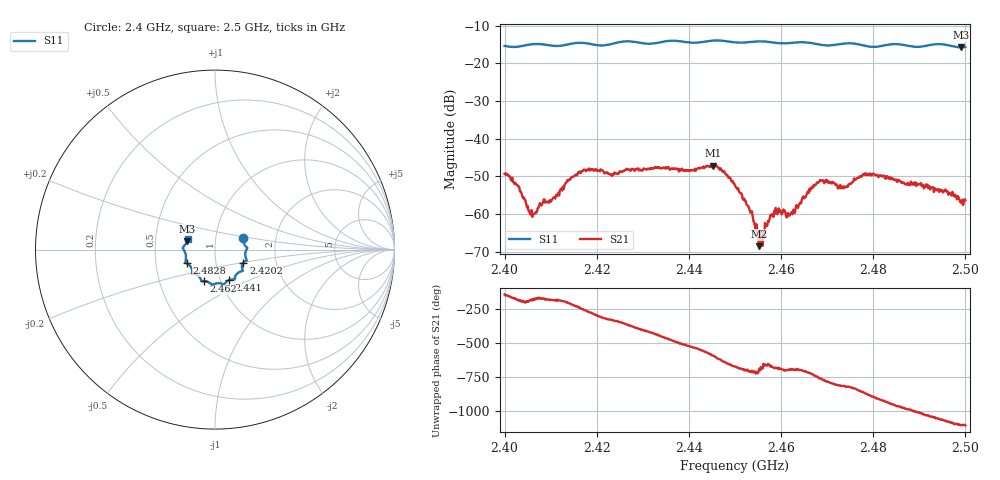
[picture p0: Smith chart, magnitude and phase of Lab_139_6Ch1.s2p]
# Hz S RI R 50
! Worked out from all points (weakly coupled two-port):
!   601 points, 2.4 GHz to 2.5 GHz, reference 50 ohm
!   highest |S21| = -47.16 dB at 2.4453 GHz (marker M1); lowest = -68.5 dB at 2.4552 GHz (marker M2)
!   lowest |S11| = -15.8 dB at 2.499 GHz (marker M3), VSWR 1.39, Z = 36.4 + j3.54 ohm
!   |S11| at or under -10 dB: start of sweep to end of sweep
!   S12 and S22 are empty: the file has one direction only
!   S11 on the Smith chart (normalised r, x): 2.4 GHz: 1.36, +0.17; 2.4202 GHz: 1.36, -0.20; 2.441 GHz: 1.10, -0.39; 2.462 GHz: 0.84, -0.30; 2.4828 GHz: 0.72, -0.11; 2.5 GHz: 0.73, +0.09
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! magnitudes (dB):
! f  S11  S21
! 2.4 GHz  -15.4  -49.3
! 2.4028 GHz  -15.6  -52.3
! 2.406 GHz  -14.9  -60.7
! 2.4167 GHz  -14.6  -48.7
! 2.4202 GHz  -15.2  -48.6
! 2.4333 GHz  -14.5  -47.8
! 2.441 GHz  -14.5  -48.3
! 2.4453 GHz  -14.0  -47.2
! 2.45 GHz  -14.4  -52.4
! 2.4533 GHz  -14.3  -59.6
! 2.4552 GHz  -14.2  -68.5
! 2.4557 GHz  -14.2  -67.5
! 2.4583 GHz  -14.5  -60.8
! 2.462 GHz  -14.6  -60.0
! 2.4667 GHz  -14.6  -53.2
! 2.4687 GHz  -15.1  -51.1
! 2.474 GHz  -14.7  -52.9
! 2.4783 GHz  -15.4  -49.1
! 2.4828 GHz  -15.2  -50.1
! 2.4833 GHz  -15.0  -50.6
! 2.499 GHz  -15.8  -56.8
! 2.5 GHz  -15.7  -56.3
